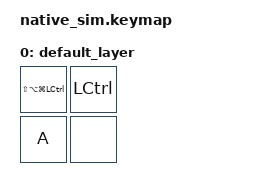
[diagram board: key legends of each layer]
#include <dt-bindings/zmk/keys.h>
#include <behaviors.dtsi>
#include <dt-bindings/zmk/input_mock.h>


&mock_input {
    events = <
        ZMK_INPUT_MOCK_PRESS(0,0,10)
        ZMK_INPUT_MOCK_PRESS(1,0,10)
        ZMK_INPUT_MOCK_RELEASE(1,0,10)
        ZMK_INPUT_MOCK_RELEASE(0,0,10)

    >;
};

/ {
    keymap {
        compatible = "zmk,keymap";

        default_layer {
            bindings = <
                &kp LS(LA(LG(LEFT_CONTROL))) &kp LEFT_CONTROL
                &kp A &none
            >;
        };
    };
};
